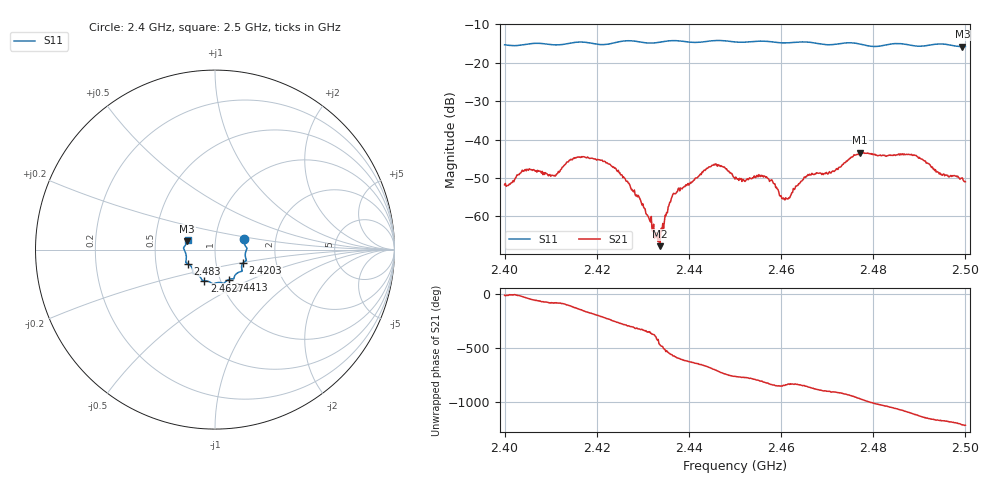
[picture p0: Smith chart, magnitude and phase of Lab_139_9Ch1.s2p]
# Hz S RI R 50
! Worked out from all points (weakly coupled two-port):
!   601 points, 2.4 GHz to 2.5 GHz, reference 50 ohm
!   highest |S21| = -43.40 dB at 2.4772 GHz (marker M1); lowest = -67.8 dB at 2.4337 GHz (marker M2)
!   lowest |S11| = -15.8 dB at 2.4993 GHz (marker M3), VSWR 1.39, Z = 36.5 + j3.54 ohm
!   |S11| at or under -10 dB: start of sweep to end of sweep
!   S12 and S22 are empty: the file has one direction only
!   S11 on the Smith chart (normalised r, x): 2.4 GHz: 1.37, +0.17; 2.4203 GHz: 1.35, -0.20; 2.4413 GHz: 1.10, -0.38; 2.4627 GHz: 0.84, -0.30; 2.483 GHz: 0.73, -0.12; 2.5 GHz: 0.73, +0.08
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2.4e9  0.1605 0.0586  0.00254 -0.00042  0 0  0 0
2.404833e9  0.1732 0.0147  0.00335 -0.00237  0 0  0 0
2.411e9  0.1696 -0.0183  0.000492 -0.00332  0 0  0 0
2.416667e9  0.1752 -0.061  -0.0049 -0.00344  0 0  0 0
2.420333e9  0.1569 -0.0731  -0.00518 0.00178  0 0  0 0
2.4265e9  0.1518 -0.1189  0.00101 0.00267  0 0  0 0
2.433333e9  0.1093 -0.147  0.000231 -0.000409  0 0  0 0
2.433667e9  0.1085 -0.1496  -0.000134 -0.000386  0 0  0 0
2.436333e9  0.105 -0.1625  -0.00164 0.000727  0 0  0 0
2.441333e9  0.0761 -0.1669  0.000652 0.00304  0 0  0 0
2.4455e9  0.0518 -0.1865  0.0045 0.00161  0 0  0 0
2.45e9  0.0311 -0.1836  0.00215 -0.00216  0 0  0 0
2.4565e9  -0.0132 -0.1899  -0.000693 -0.00324  0 0  0 0
2.460667e9  -0.0426 -0.1758  -0.00105 -0.0013  0 0  0 0
2.462667e9  -0.0595 -0.1737  -0.00106 -0.00204  0 0  0 0
2.466667e9  -0.0737 -0.1674  -0.00324 -0.00164  0 0  0 0
2.477167e9  -0.1235 -0.1235  -0.00178 0.00652  0 0  0 0
2.483e9  -0.1528 -0.0775  0.00496 0.00367  0 0  0 0
2.483333e9  -0.1552 -0.0765  0.00526 0.00338  0 0  0 0
2.488833e9  -0.1596 -0.0451  0.00508 -0.00375  0 0  0 0
2.499333e9  -0.1544 0.0472  -0.00229 -0.00219  0 0  0 0
2.5e9  -0.1523 0.0562  -0.00217 -0.00182  0 0  0 0
